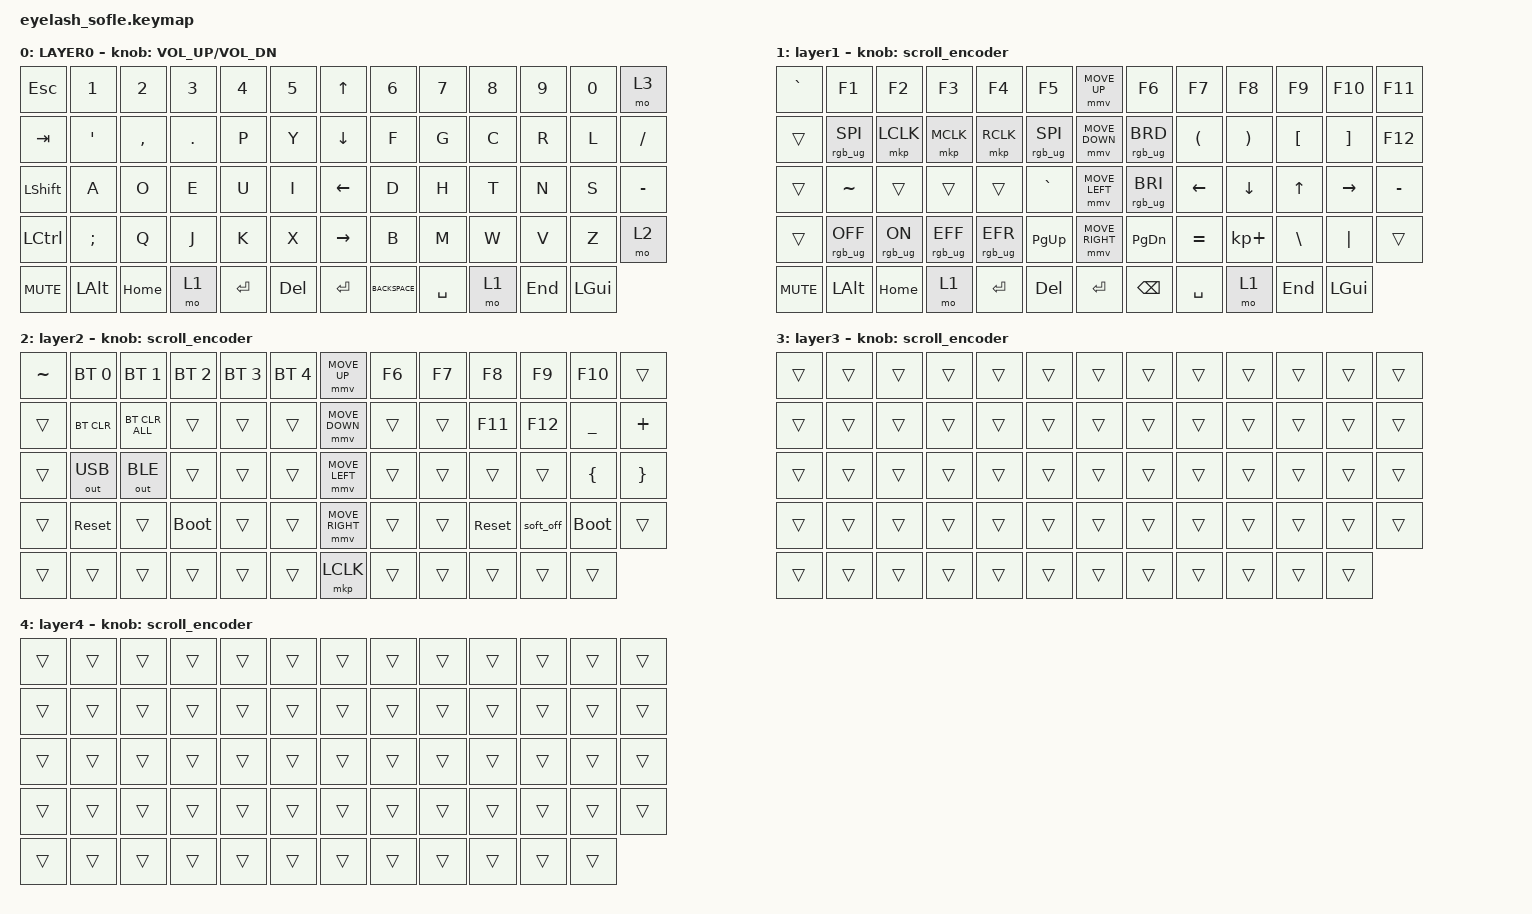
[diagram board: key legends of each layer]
#define ZMK_POINTING_DEFAULT_MOVE_VAL 1200  // 600
#define ZMK_POINTING_DEFAULT_SCRL_VAL 25   // 10

#include <input/processors.dtsi>
#include <zephyr/dt-bindings/input/input-event-codes.h>
#include <behaviors.dtsi>
#include <dt-bindings/zmk/bt.h>
#include <dt-bindings/zmk/keys.h>
#include <dt-bindings/zmk/outputs.h>
#include <dt-bindings/zmk/pointing.h>
#include <dt-bindings/zmk/rgb.h>

&mmv_input_listener { input-processors = <&zip_xy_scaler 2 1>; };

&msc_input_listener { input-processors = <&zip_scroll_scaler 2 1>; };

&msc {
    acceleration-exponent = <1>;      // 0
    time-to-max-speed-ms = <100>;       // 300
    delay-ms = <0>;                   // 0
};

&mmv {
    time-to-max-speed-ms = <500>;
    acceleration-exponent = <1>;
    trigger-period-ms = <16>;
};

&soft_off { hold-time-ms = <2000>; };

/ {
    scroll_encoder: scroll_encoder {
        compatible = "zmk,behavior-sensor-rotate";
        #sensor-binding-cells = <0>;
        bindings = <&msc SCRL_DOWN>, <&msc SCRL_UP>;

        tap-ms = <100>;
    };

    behaviors {
    };

    combos {
        compatible = "zmk,combos";

        softoff {
            bindings = <&soft_off>;
            key-positions = <14 28 40>;
        };
    };

    macros {
        SHIFT_MCLK: SHIFT_MCLK {
            compatible = "zmk,behavior-macro";
            #binding-cells = <0>;
            bindings =
                <&macro_press>,
                <&kp LEFT_SHIFT>,
                <&macro_press>,
                <&mkp MB3>,
                <&macro_pause_for_release>,
                <&macro_release>,
                <&kp LEFT_SHIFT &mkp MB3>;

            label = "SHIFT_MCLK";
        };
    };

    keymap {
        compatible = "zmk,keymap";

        layer0 {
            bindings = <
&kp ESC     &kp N1        &kp N2     &kp N3   &kp N4   &kp N5      &kp UP_ARROW     &kp N6      &kp N7     &kp N8  &kp N9   &kp N0        &mo 3
&kp TAB     &kp APOS      &kp COMMA  &kp DOT  &kp P    &kp Y       &kp DOWN_ARROW   &kp F       &kp G      &kp C   &kp R    &kp L         &kp SLASH
&kp LSHFT   &kp A         &kp O      &kp E    &kp U    &kp I       &kp LEFT_ARROW   &kp D       &kp H      &kp T   &kp N    &kp S         &kp MINUS
&kp LCTRL   &kp SEMI      &kp Q      &kp J    &kp K    &kp X       &kp RIGHT_ARROW  &kp B       &kp M      &kp W   &kp V    &kp Z         &mo 2
&kp C_MUTE  &kp LEFT_ALT  &kp HOME   &mo 1  &kp ENTER  &kp DELETE  &kp ENTER        &BACKSPACE  &kp SPACE  &mo 1   &kp END  &kp LEFT_GUI
            >;

            sensor-bindings = <&inc_dec_kp C_VOLUME_UP C_VOL_DN>;
            display-name = "LAYER0";
        };

        layer_1 {
            bindings = <
&kp GRAVE   &kp F1           &kp F2          &kp F3           &kp F4           &kp F5           &mmv MOVE_UP     &kp F6           &kp F7     &kp F8       &kp F9    &kp F10       &kp F11
&trans      &rgb_ug RGB_SPI  &mkp LCLK       &mkp MCLK        &mkp RCLK        &rgb_ug RGB_SPI  &mmv MOVE_DOWN   &rgb_ug RGB_BRD  &kp LPAR   &kp RPAR     &kp LBKT  &kp RBKT      &kp F12
&trans      &kp TILDE        &trans          &trans           &trans           &kp GRAVE        &mmv MOVE_LEFT   &rgb_ug RGB_BRI  &kp LEFT   &kp DOWN     &kp UP    &kp RIGHT     &kp MINUS
&trans      &rgb_ug RGB_OFF  &rgb_ug RGB_ON  &rgb_ug RGB_EFF  &rgb_ug RGB_EFR  &kp PG_UP        &mmv MOVE_RIGHT  &kp PG_DN        &kp EQUAL  &kp KP_PLUS  &kp BSLH  &kp PIPE      &trans
&kp C_MUTE  &kp LEFT_ALT     &kp HOME        &mo 1            &kp ENTER        &kp DELETE       &kp ENTER        &kp BACKSPACE    &kp SPACE  &mo 1        &kp END   &kp LEFT_GUI
            >;

            display-name = "layer1";
            sensor-bindings = <&scroll_encoder>;
        };

        layer_2 {
            bindings = <
&kp TILDE  &bt BT_SEL 0  &bt BT_SEL 1    &bt BT_SEL 2  &bt BT_SEL 3  &bt BT_SEL 4    &mmv MOVE_UP     &kp F6  &kp F7  &kp F8      &kp F9     &kp F10      &trans
&trans     &bt BT_CLR    &bt BT_CLR_ALL  &trans        &trans        &trans          &mmv MOVE_DOWN   &trans  &trans  &kp F11     &kp F12    &kp UNDER    &kp PLUS
&trans     &out OUT_USB  &out OUT_BLE    &trans        &trans        &trans          &mmv MOVE_LEFT   &trans  &trans  &trans      &trans     &kp LBRC     &kp RBRC
&trans     &sys_reset    &trans          &bootloader   &trans        &trans          &mmv MOVE_RIGHT  &trans  &trans  &sys_reset  &soft_off  &bootloader  &trans
&trans     &trans        &trans          &trans        &trans        &trans          &mkp LCLK        &trans  &trans  &trans      &trans     &trans
            >;

            display-name = "layer2";
            sensor-bindings = <&scroll_encoder>;
        };

        layer_3 {
            bindings = <
&trans  &trans  &trans  &trans  &trans  &trans    &trans  &trans  &trans  &trans  &trans  &trans  &trans
&trans  &trans  &trans  &trans  &trans  &trans    &trans  &trans  &trans  &trans  &trans  &trans  &trans
&trans  &trans  &trans  &trans  &trans  &trans    &trans  &trans  &trans  &trans  &trans  &trans  &trans
&trans  &trans  &trans  &trans  &trans  &trans    &trans  &trans  &trans  &trans  &trans  &trans  &trans
&trans  &trans  &trans  &trans  &trans  &trans    &trans  &trans  &trans  &trans  &trans  &trans
            >;

            display-name = "layer3";
            sensor-bindings = <&scroll_encoder>;
        };

        layer_4 {
            bindings = <
&trans  &trans  &trans  &trans  &trans  &trans    &trans  &trans  &trans  &trans  &trans  &trans  &trans
&trans  &trans  &trans  &trans  &trans  &trans    &trans  &trans  &trans  &trans  &trans  &trans  &trans
&trans  &trans  &trans  &trans  &trans  &trans    &trans  &trans  &trans  &trans  &trans  &trans  &trans
&trans  &trans  &trans  &trans  &trans  &trans    &trans  &trans  &trans  &trans  &trans  &trans  &trans
&trans  &trans  &trans  &trans  &trans  &trans    &trans  &trans  &trans  &trans  &trans  &trans
            >;

            display-name = "layer4";
            sensor-bindings = <&scroll_encoder>;
        };
    };
};
